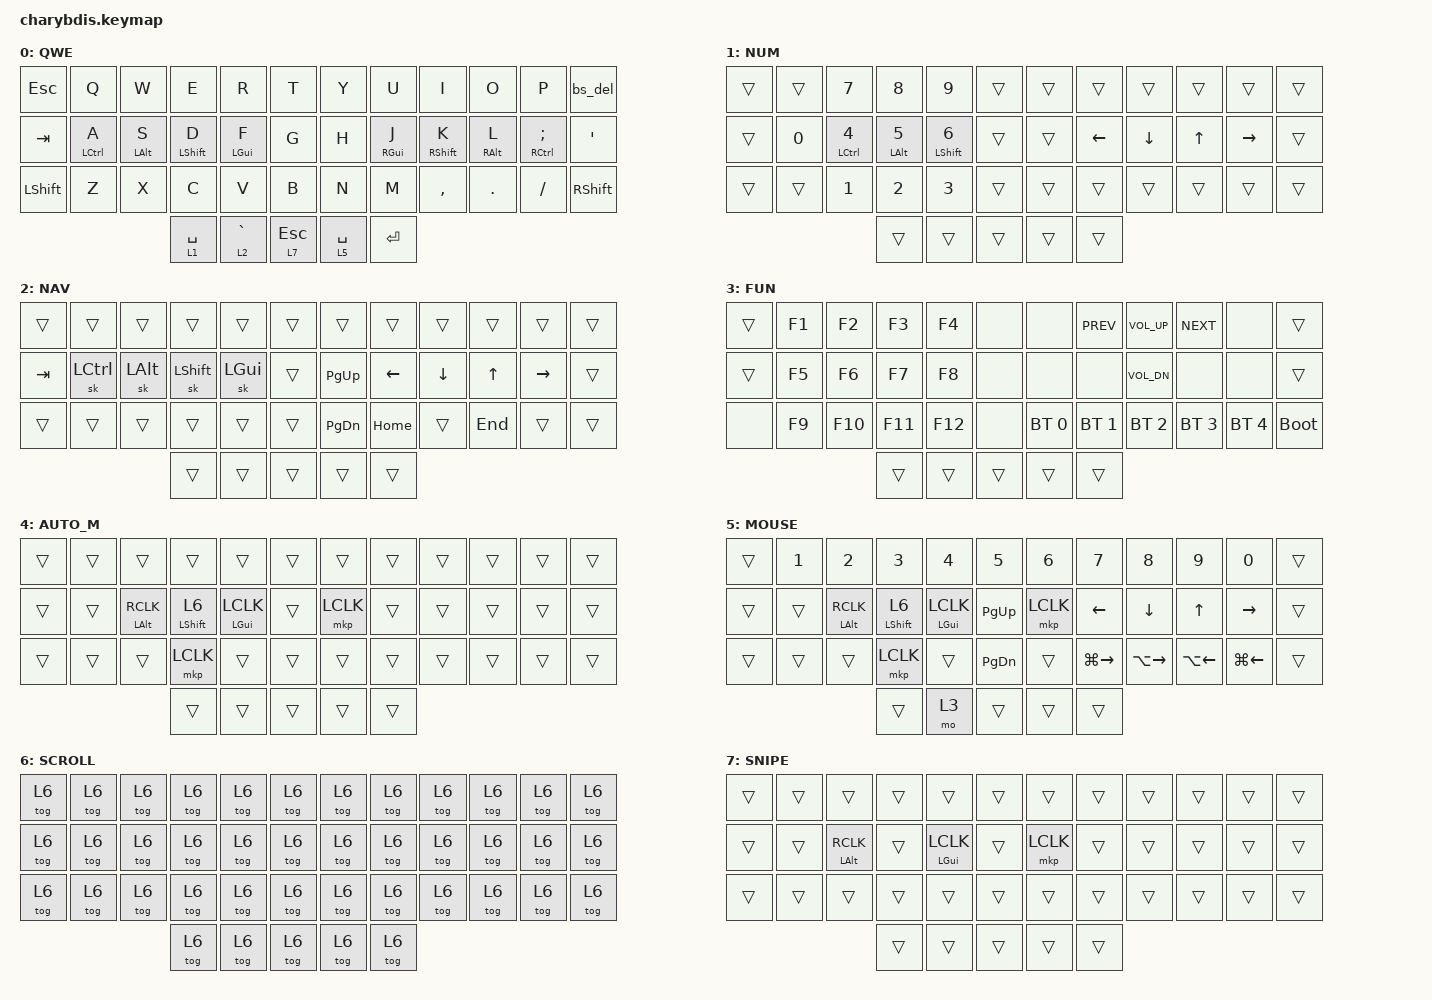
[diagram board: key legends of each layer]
#include <behaviors/mouse_keys.dtsi>
#include <dt-bindings/zmk/mouse.h>
#include <behaviors.dtsi>
#include <dt-bindings/zmk/bt.h>
#include <dt-bindings/zmk/keys.h>
#include <dt-bindings/zmk/pointing.h>

// ===================== Combo Macro =====================

#define ZMK_COMBO(NAME, BIND, KEYPOS, LAYER, TIMEOUT, IDLE) \
    combo_##NAME { \
        timeout-ms = <TIMEOUT>; \
        key-positions = <KEYPOS>; \
        bindings = <BIND>; \
        layers = <LAYER>; \
        require-prior-idle-ms = <IDLE>; \
        slow-release; \
    };

// ===================== 全局行为覆盖 =====================

&lt {
    tapping-term-ms = <220>;
    flavor = "balanced";
    quick-tap-ms = <150>;
};

&sk {
    release-after-ms = <1200>;
    quick-release;
};

&sl {
    ignore-modifiers;
};

// ===================== Combo 时序参数 =====================

#define COMBO_TERM_FAST 30
#define COMBO_TERM_SLOW 40
#define COMBO_TERM_HORIZ 55
#define COMBO_IDLE_FAST 150
#define COMBO_IDLE_SLOW 50
#define COMBO_IDLE_HORIZ 150

/ {
    // ===================== 行为定义 =====================

    behaviors {
        // --- Mod-Morph 标点 ---

        bs_del: bs_del {
            compatible = "zmk,behavior-mod-morph";
            #binding-cells = <0>;
            bindings = <&kp BSPC>, <&kp DEL>;
            mods = <(MOD_LSFT|MOD_RSFT)>;
        };

        // --- Timeless Home Row Mods ---
        // 位置号体系（Charybdis 41 键）：
        //   主键区 0-35 与 keyball47 一致；拇指 36 37 | 38 39 40

        hml: home_row_mod_left {
            compatible = "zmk,behavior-hold-tap";
            #binding-cells = <2>;
            flavor = "balanced";
            tapping-term-ms = <280>;
            quick-tap-ms = <175>;
            require-prior-idle-ms = <150>;
            bindings = <&kp>, <&kp>;
            hold-trigger-key-positions = <
                6  7  8  9  10 11
                18 19 20 21 22 23
                30 31 32 33 34 35
                38 39 40
            >;
            hold-trigger-on-release;
        };

        hmr: home_row_mod_right {
            compatible = "zmk,behavior-hold-tap";
            #binding-cells = <2>;
            flavor = "balanced";
            tapping-term-ms = <280>;
            quick-tap-ms = <175>;
            require-prior-idle-ms = <150>;
            bindings = <&kp>, <&kp>;
            hold-trigger-key-positions = <
                0  1  2  3  4  5
                12 13 14 15 16 17
                24 25 26 27 28 29
                36 37
            >;
            hold-trigger-on-release;
        };

        hmr_ms: hmr_ms {
            compatible = "zmk,behavior-hold-tap";
            #binding-cells = <2>;
            flavor = "tap-preferred";
            tapping-term-ms = <175>;
            quick-tap-ms = <175>;
            require-prior-idle-ms = <150>;
            bindings = <&kp>, <&mkp>;
            hold-trigger-key-positions = <
                0  1  2  3  4  5
                12 13 14 15 16 17
                24 25 26 27 28 29
                36 37
            >;
            hold-trigger-on-release;
        };

        hml_ms: hml_ms {
            compatible = "zmk,behavior-hold-tap";
            #binding-cells = <2>;
            flavor = "tap-preferred";
            tapping-term-ms = <175>;
            quick-tap-ms = <175>;
            require-prior-idle-ms = <150>;
            bindings = <&kp>, <&mkp>;
            hold-trigger-key-positions = <
                6  7  8  9  10 11
                18 19 20 21 22 23
                30 31 32 33 34 35
                38 39 40
            >;
            hold-trigger-on-release;
        };

        // 鼠标层专用的 K 键行为：长按 Shift，短按切换滚轮层
        ks_scroll: ks_scroll {
            compatible = "zmk,behavior-hold-tap";
            #binding-cells = <2>;
            flavor = "tap-preferred";
            tapping-term-ms = <200>;
            bindings = <&kp>, <&tog>;
        };
    };

    // ===================== Combos (替代符号层) =====================

    combos {
        compatible = "zmk,combos";

        // --- 左手便捷功能 (Z+X, Z+V, X+C, C+V, X+V) ---
        ZMK_COMBO(undo,  &kp LG(Z), 25 26, 0 5, COMBO_TERM_FAST, COMBO_IDLE_FAST)
        ZMK_COMBO(redo,  &kp LG(LS(Z)), 25 28, 0 5, COMBO_TERM_FAST, COMBO_IDLE_FAST)
        ZMK_COMBO(copy,  &kp LG(C), 26 27, 0 5, COMBO_TERM_FAST, COMBO_IDLE_FAST)
        ZMK_COMBO(paste, &kp LG(V), 27 28, 0 5, COMBO_TERM_FAST, COMBO_IDLE_FAST)
        ZMK_COMBO(cut,   &kp LG(X), 26 28, 0 5, COMBO_TERM_FAST, COMBO_IDLE_FAST)

        // --- 左手横向导航 Combos (Home Row) ---
        ZMK_COMBO(word_left,  &kp LC(LEFT),  13 14, 0 1, COMBO_TERM_SLOW, COMBO_IDLE_SLOW) // A+S
        ZMK_COMBO(word_up,    &kp LC(UP),    14 15, 0 1, COMBO_TERM_SLOW, COMBO_IDLE_SLOW) // S+D
        ZMK_COMBO(word_down,  &kp LC(DOWN),  13 16, 0 1, COMBO_TERM_SLOW, COMBO_IDLE_SLOW) // A+F
        ZMK_COMBO(word_right, &kp LC(RIGHT), 15 16, 0 1, COMBO_TERM_SLOW, COMBO_IDLE_SLOW) // D+F

        // --- 垂直上行 combos (顶行+中间行) ---
        ZMK_COMBO(excl,    &kp EXCL,   1 13, 0 1, COMBO_TERM_SLOW, COMBO_IDLE_SLOW)
        ZMK_COMBO(at,      &kp AT,     2 14, 0 1, COMBO_TERM_SLOW, COMBO_IDLE_SLOW)
        ZMK_COMBO(hash,    &kp HASH,   3 15, 0 1, COMBO_TERM_SLOW, COMBO_IDLE_SLOW)
        ZMK_COMBO(dollar,  &kp DLLR,   4 16, 0 1, COMBO_TERM_SLOW, COMBO_IDLE_SLOW)
        ZMK_COMBO(percent, &kp PRCNT,  5 17, 0 1, COMBO_TERM_SLOW, COMBO_IDLE_SLOW)
        ZMK_COMBO(caret,   &kp CARET,  6 18, 0 1, COMBO_TERM_SLOW, COMBO_IDLE_SLOW)
        ZMK_COMBO(amps,    &kp AMPS,   7 19, 0 1, COMBO_TERM_SLOW, COMBO_IDLE_SLOW)
        ZMK_COMBO(star,    &kp STAR,   8 20, 0 1, COMBO_TERM_SLOW, COMBO_IDLE_SLOW)
        ZMK_COMBO(lpar,    &kp LPAR,   9 21, 0 1, COMBO_TERM_SLOW, COMBO_IDLE_SLOW)
        ZMK_COMBO(rpar,    &kp RPAR,  10 22, 0 1, COMBO_TERM_SLOW, COMBO_IDLE_SLOW)

        // --- 横向 combos (右手中间/底排，五种基本符号 - = [ ] \) ---
        ZMK_COMBO(minus,   &kp MINUS, 19 20, 0 1 2, COMBO_TERM_HORIZ, COMBO_IDLE_HORIZ)
        ZMK_COMBO(lbkt,    &kp LBKT,  20 21, 0 1 2, COMBO_TERM_HORIZ, COMBO_IDLE_HORIZ)
        ZMK_COMBO(rbkt,    &kp RBKT,  21 22, 0 1 2, COMBO_TERM_HORIZ, COMBO_IDLE_HORIZ)
        ZMK_COMBO(equal,   &kp EQUAL, 31 32, 0 1 2, COMBO_TERM_HORIZ, COMBO_IDLE_HORIZ)
        ZMK_COMBO(bslh,    &kp BSLH,  32 33, 0 1 2, COMBO_TERM_HORIZ, COMBO_IDLE_HORIZ)
    };

    // ===================== 键映射 =====================
    // 拇指 5 键顺序（每行末 5 项）：左外 左内 | 右内 右中 右外

    keymap {
        compatible = "zmk,keymap";

        // Layer 0: QWERTY 基础层
        default_layer {
            display-name = "QWE";
            bindings = <
            &kp ESC    &kp Q         &kp W         &kp E        &kp R         &kp T                    &kp Y     &kp U          &kp I        &kp O       &kp P           &bs_del
            &kp TAB    &hml LCTRL A  &hml LALT S   &hml LSHFT D &hml LGUI F   &kp G                    &kp H     &hmr RGUI J    &hmr RSHFT K &hmr RALT L &hmr RCTRL SEMI &kp APOS
            &kp LSHFT  &kp Z         &kp X         &kp C        &kp V         &kp B                    &kp N     &kp M          &kp COMMA    &kp DOT     &kp FSLH        &kp RSHFT
                                                   &lt 1 SPACE  &lt 2 GRAVE            &lt 7 ESCAPE  &lt 5 SPACE &kp ENTER
            >;
        };

        // Layer 1: 数字层 (Numpad)
        number_layer {
            display-name = "NUM";
            bindings = <
&trans  &trans  &kp N7  &kp N8  &kp N9  &trans                          &trans  &trans  &trans  &trans  &trans  &trans
&trans  &kp N0  &hml LCTRL N4  &hml LALT N5  &hml LSHFT N6  &trans      &trans  &kp LEFT  &kp DOWN  &kp UP  &kp RIGHT  &trans
&trans  &trans  &kp N1  &kp N2  &kp N3  &trans                          &trans  &trans  &trans  &trans  &trans  &trans
                                &trans  &trans   &trans  &trans  &trans
            >;
        };

        // Layer 2: 导航层 (左手 sticky mods + 右手导航)
        nav_layer {
            display-name = "NAV";
            bindings = <
&trans   &trans     &trans     &trans      &trans     &trans                   &trans     &trans    &trans   &trans   &trans     &trans
&kp TAB  &sk LCTRL  &sk LALT   &sk LSHFT   &sk LGUI   &trans                   &kp PG_UP  &kp LEFT  &kp DOWN &kp UP   &kp RIGHT  &trans
&trans   &trans     &trans     &trans      &trans     &trans                   &kp PG_DN  &kp HOME  &trans   &kp END  &trans     &trans
                                           &trans     &trans          &trans   &trans     &trans
            >;
        };

        // Layer 3: 功能键层
        function_layer {
            display-name = "FUN";
            bindings = <
&trans  &kp F1  &kp F2   &kp F3   &kp F4   &none                     &none         &kp C_PREV    &kp C_VOL_UP  &kp C_NEXT    &none         &trans
&trans  &kp F5  &kp F6   &kp F7   &kp F8   &none                     &none         &none         &kp C_VOL_DN  &none         &none         &trans
&none   &kp F9  &kp F10  &kp F11  &kp F12  &none                     &bt BT_SEL 0  &bt BT_SEL 1  &bt BT_SEL 2  &bt BT_SEL 3  &bt BT_SEL 4  &bootloader
                                           &trans   &trans   &trans   &trans       &trans
            >;
        };

        // Layer 4: 自动鼠标层 (轨迹球触发, home row 全透传)
        auto_mouse_layer {
            display-name = "AUTO_M";
            bindings = <
&trans  &trans  &trans  &trans  &trans  &trans                    &trans      &trans       &trans       &trans       &trans  &trans
&trans  &trans  &hml_ms LALT RCLK  &ks_scroll LSHFT 6  &hml_ms LGUI LCLK  &trans                    &mkp LCLK    &trans       &trans  &trans  &trans  &trans
&trans  &trans  &trans  &mkp LCLK  &trans  &trans                    &trans      &trans       &trans       &trans       &trans  &trans
                                        &trans  &trans            &trans  &trans  &trans
            >;
        };

        // Layer 5: 手动鼠标层 (Smart-Mouse combo 或 lt 5 触发)
        mouse_layer {
            display-name = "MOUSE";
            bindings = <
&trans   &kp N1          &kp N2          &kp N3         &kp N4         &kp N5                    &kp N6         &kp N7             &kp N8              &kp N9             &kp N0     &trans
&trans   &trans          &hml_ms LALT RCLK  &ks_scroll LSHFT 6  &hml_ms LGUI LCLK  &kp PAGE_UP                    &mkp LCLK    &kp LEFT      &kp DOWN    &kp UP      &kp RIGHT  &trans
&trans   &trans          &trans          &mkp LCLK      &trans         &kp PAGE_DOWN              &trans         &kp LG(RIGHT)      &kp LA(RIGHT)       &kp LA(LEFT)      &kp LG(LEFT)  &trans
                                                        &trans         &mo 3             &trans   &trans          &trans
            >;
        };

        // Layer 6: 滚轮层
        scroll_layer {
            display-name = "SCROLL";
            bindings = <
&tog 6  &tog 6  &tog 6  &tog 6  &tog 6  &tog 6                    &tog 6  &tog 6  &tog 6  &tog 6  &tog 6  &tog 6
&tog 6  &tog 6  &tog 6  &tog 6  &tog 6  &tog 6                    &tog 6  &tog 6  &tog 6  &tog 6  &tog 6  &tog 6
&tog 6  &tog 6  &tog 6  &tog 6  &tog 6  &tog 6                    &tog 6  &tog 6  &tog 6  &tog 6  &tog 6  &tog 6
                                &tog 6  &tog 6            &tog 6  &tog 6  &tog 6
            >;
        };

        // Layer 7: 精准指针层 (Snipe)
        snipe_layer {
            display-name = "SNIPE";
            bindings = <
&trans  &trans  &trans  &trans  &trans  &trans                         &trans  &trans             &trans       &trans       &trans  &trans
&trans  &trans  &hml_ms LALT RCLK  &trans  &hml_ms LGUI LCLK  &trans                         &mkp LCLK    &trans       &trans       &trans       &trans  &trans
&trans  &trans  &trans  &trans  &trans  &trans                         &trans  &trans             &trans       &trans       &trans  &trans
                                        &trans  &trans         &trans  &trans  &trans
            >;
        };
    };
};
